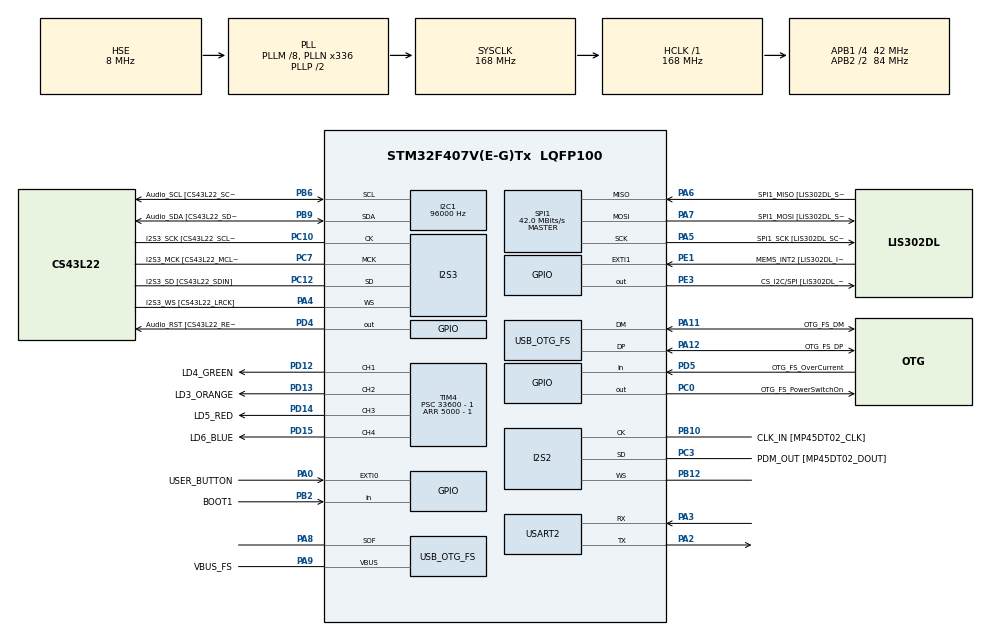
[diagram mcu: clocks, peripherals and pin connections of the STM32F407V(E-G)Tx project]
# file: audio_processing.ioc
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Dma.Request0=SPI2_RX
Dma.Request1=SPI3_TX
Dma.Request2=USART2_RX
Dma.Request3=USART2_TX
Dma.SPI2_RX.0.Direction=DMA_PERIPH_TO_MEMORY
Dma.SPI2_RX.0.FIFOMode=DMA_FIFOMODE_DISABLE
Dma.SPI2_RX.0.Instance=DMA1_Stream3
Dma.SPI2_RX.0.MemDataAlignment=DMA_MDATAALIGN_HALFWORD
Dma.SPI2_RX.0.MemInc=DMA_MINC_ENABLE
Dma.SPI2_RX.0.Mode=DMA_CIRCULAR
Dma.SPI2_RX.0.PeriphDataAlignment=DMA_PDATAALIGN_HALFWORD
Dma.SPI2_RX.0.PeriphInc=DMA_PINC_DISABLE
Dma.SPI2_RX.0.Priority=DMA_PRIORITY_HIGH
Dma.SPI3_TX.1.Direction=DMA_MEMORY_TO_PERIPH
Dma.SPI3_TX.1.FIFOMode=DMA_FIFOMODE_DISABLE
Dma.SPI3_TX.1.Instance=DMA1_Stream7
Dma.SPI3_TX.1.MemDataAlignment=DMA_MDATAALIGN_HALFWORD
Dma.SPI3_TX.1.MemInc=DMA_MINC_ENABLE
Dma.SPI3_TX.1.Mode=DMA_CIRCULAR
Dma.SPI3_TX.1.PeriphDataAlignment=DMA_PDATAALIGN_HALFWORD
Dma.SPI3_TX.1.PeriphInc=DMA_PINC_DISABLE
Dma.SPI3_TX.1.Priority=DMA_PRIORITY_HIGH
Dma.USART2_RX.2.Direction=DMA_PERIPH_TO_MEMORY
Dma.USART2_RX.2.FIFOMode=DMA_FIFOMODE_DISABLE
Dma.USART2_RX.2.Instance=DMA1_Stream5
Dma.USART2_RX.2.MemDataAlignment=DMA_MDATAALIGN_BYTE
Dma.USART2_RX.2.MemInc=DMA_MINC_ENABLE
Dma.USART2_RX.2.Mode=DMA_NORMAL
Dma.USART2_RX.2.PeriphDataAlignment=DMA_PDATAALIGN_BYTE
Dma.USART2_RX.2.PeriphInc=DMA_PINC_DISABLE
Dma.USART2_RX.2.Priority=DMA_PRIORITY_MEDIUM
Dma.USART2_TX.3.Direction=DMA_MEMORY_TO_PERIPH
Dma.USART2_TX.3.FIFOMode=DMA_FIFOMODE_DISABLE
Dma.USART2_TX.3.Instance=DMA1_Stream6
Dma.USART2_TX.3.MemDataAlignment=DMA_MDATAALIGN_BYTE
Dma.USART2_TX.3.MemInc=DMA_MINC_ENABLE
Dma.USART2_TX.3.Mode=DMA_NORMAL
Dma.USART2_TX.3.PeriphDataAlignment=DMA_PDATAALIGN_BYTE
Dma.USART2_TX.3.PeriphInc=DMA_PINC_DISABLE
Dma.USART2_TX.3.Priority=DMA_PRIORITY_LOW
I2C1.ClockSpeed=96000
I2C1.DutyCycle=I2C_DUTYCYCLE_2
I2C1.I2C_Mode=I2C_Fast
I2S2.AudioFreq=I2S_AUDIOFREQ_192K
I2S2.CPOL=I2S_CPOL_HIGH
I2S2.ErrorAudioFreq=2.06 %
I2S2.FullDuplexMode=I2S_FULLDUPLEXMODE_DISABLE
I2S2.Instance=SPI$Index
I2S2.Mode=I2S_MODE_MASTER_RX
I2S2.RealAudioFreq=195.963 KHz
I2S2.Standard=I2S_STANDARD_LSB
I2S2.VirtualMode=I2S_MODE_MASTER
I2S3.AudioFreq=I2S_AUDIOFREQ_96K
I2S3.AudioFreq-Half_Duplex_Master=I2S_AUDIOFREQ_96K
I2S3.ErrorAudioFreq=2.06 %
I2S3.ErrorAudioFreq-Half_Duplex_Master=0.8 %
I2S3.FullDuplexMode=I2S_FULLDUPLEXMODE_DISABLE
I2S3.Instance=SPI$Index
I2S3.Mode=I2S_MODE_MASTER_TX
I2S3.RealAudioFreq=97.981 KHz
I2S3.RealAudioFreq-Half_Duplex_Master=96.774 KHz
I2S3.Standard=I2S_STANDARD_PHILIPS
I2S3.VirtualMode=I2S_MODE_MASTER
Mcu.Family=STM32F4
Mcu.Name=STM32F407V(E-G)Tx
Mcu.Package=LQFP100
NVIC.DMA1_Stream3_IRQn=true\:0\:0\:false\:false\:true\:false\:true\:true
NVIC.DMA1_Stream5_IRQn=true\:0\:0\:false\:false\:true\:false\:true\:true
NVIC.DMA1_Stream6_IRQn=true\:0\:0\:false\:false\:true\:false\:true\:true
NVIC.DMA1_Stream7_IRQn=true\:0\:0\:false\:false\:true\:false\:true\:true
NVIC.FPU_IRQn=true\:0\:0\:false\:false\:true\:true\:false\:true
NVIC.OTG_FS_IRQn=true\:0\:0\:false\:false\:true\:true\:true\:true
NVIC.PriorityGroup=NVIC_PRIORITYGROUP_2
NVIC.SPI2_IRQn=true\:0\:0\:false\:false\:true\:true\:true\:true
NVIC.SPI3_IRQn=true\:0\:0\:false\:false\:true\:true\:true\:true
NVIC.USART2_IRQn=true\:0\:0\:false\:false\:true\:true\:true\:true
PA0-WKUP.GPIO_Label=USER_BUTTON
PA0-WKUP.GPIO_ModeDefaultEXTI=GPIO_MODE_IT_RISING
PA0-WKUP.GPIO_PuPd=GPIO_PULLDOWN
PA0-WKUP.Signal=GPXTI0
PA10.GPIO_Label=OTG_FS_ID
PA10.GPIO_Mode=GPIO_MODE_AF_PP
PA10.GPIO_PuPd=GPIO_NOPULL
PA10.GPIO_Speed=GPIO_SPEED_FREQ_LOW
PA10.Signal=USB_OTG_FS_ID
PA11.GPIO_Label=OTG_FS_DM
PA11.GPIO_Mode=GPIO_MODE_AF_PP
PA11.GPIO_PuPd=GPIO_NOPULL
PA11.GPIO_Speed=GPIO_SPEED_FREQ_LOW
PA11.Mode=Device_Only
PA11.Signal=USB_OTG_FS_DM
PA12.GPIO_Label=OTG_FS_DP
PA12.GPIO_Mode=GPIO_MODE_AF_PP
PA12.GPIO_PuPd=GPIO_NOPULL
PA12.GPIO_Speed=GPIO_SPEED_FREQ_LOW
PA12.Mode=Device_Only
PA12.Signal=USB_OTG_FS_DP
PA13.GPIO_Label=SWDIO
PA13.Mode=Serial_Wire
PA13.Signal=SYS_JTMS-SWDIO
PA14.GPIO_Label=SWCLK
PA14.Mode=Serial_Wire
PA14.Signal=SYS_JTCK-SWCLK
PA2.Mode=Asynchronous
PA2.Signal=USART2_TX
PA3.Mode=Asynchronous
PA3.Signal=USART2_RX
PA4.GPIO_Label=I2S3_WS [CS43L22_LRCK]
PA4.GPIO_Mode=GPIO_MODE_AF_PP
PA4.GPIO_PuPd=GPIO_NOPULL
PA4.GPIO_Speed=GPIO_SPEED_FREQ_LOW
PA4.Mode=Half_Duplex_Master
PA4.Signal=I2S3_WS
PA5.GPIO_Label=SPI1_SCK [LIS302DL_SCL/SPC]
PA5.GPIO_Mode=GPIO_MODE_AF_PP
PA5.GPIO_PuPd=GPIO_NOPULL
PA5.GPIO_Speed=GPIO_SPEED_FREQ_LOW
PA5.Mode=Full_Duplex_Master
PA5.Signal=SPI1_SCK
PA6.GPIO_Label=SPI1_MISO [LIS302DL_SDO]
PA6.GPIO_Mode=GPIO_MODE_AF_PP
PA6.GPIO_PuPd=GPIO_NOPULL
PA6.GPIO_Speed=GPIO_SPEED_FREQ_LOW
PA6.Mode=Full_Duplex_Master
PA6.Signal=SPI1_MISO
PA7.GPIO_Label=SPI1_MOSI [LIS302DL_SDA/SDI/SDO]
PA7.GPIO_Mode=GPIO_MODE_AF_PP
PA7.GPIO_PuPd=GPIO_NOPULL
PA7.GPIO_Speed=GPIO_SPEED_FREQ_LOW
PA7.Mode=Full_Duplex_Master
PA7.Signal=SPI1_MOSI
PA8.Mode=Activate_SOF_FS
PA8.Signal=USB_OTG_FS_SOF
PA9.GPIO_Label=VBUS_FS
PA9.GPIO_Mode=GPIO_MODE_INPUT
PA9.GPIO_PuPd=GPIO_NOPULL
PA9.Mode=Activate_VBUS
PA9.Signal=USB_OTG_FS_VBUS
PB10.GPIO_Label=CLK_IN [MP45DT02_CLK]
PB10.GPIO_Mode=GPIO_MODE_AF_PP
PB10.GPIO_PuPd=GPIO_NOPULL
PB10.GPIO_Speed=GPIO_SPEED_FREQ_LOW
PB10.Mode=Half_Duplex_Master
PB10.Signal=I2S2_CK
PB12.Mode=Half_Duplex_Master
PB12.Signal=I2S2_WS
PB2.GPIO_Label=BOOT1
PB2.GPIO_Mode=GPIO_MODE_INPUT
PB2.GPIO_PuPd=GPIO_NOPULL
PB2.Signal=GPIO_Input
PB3.GPIO_Label=SWO
PB3.Signal=SYS_JTDO-SWO
PB6.GPIO_Label=Audio_SCL [CS43L22_SCL]
PB6.GPIO_Mode=GPIO_MODE_AF_OD
PB6.GPIO_Pu=GPIO_PULLUP
PB6.GPIO_PuPd=GPIO_NOPULL
PB6.GPIO_Speed=GPIO_SPEED_FREQ_LOW
PB6.Mode=I2C
PB6.Signal=I2C1_SCL
PB9.GPIO_Label=Audio_SDA [CS43L22_SDA]
PB9.GPIO_Mode=GPIO_MODE_AF_OD
PB9.GPIO_Pu=GPIO_PULLUP
PB9.GPIO_PuPd=GPIO_NOPULL
PB9.GPIO_Speed=GPIO_SPEED_FREQ_LOW
PB9.Mode=I2C
PB9.Signal=I2C1_SDA
PC0.GPIO_Label=OTG_FS_PowerSwitchOn
PC0.GPIO_PuPd=GPIO_NOPULL
PC0.GPIO_Speed=GPIO_SPEED_FREQ_LOW
PC0.PinState=GPIO_PIN_SET
PC0.Signal=GPIO_Output
PC10.GPIO_Label=I2S3_SCK [CS43L22_SCLK]
PC10.GPIO_Mode=GPIO_MODE_AF_PP
PC10.GPIO_PuPd=GPIO_NOPULL
PC10.GPIO_Speed=GPIO_SPEED_FREQ_LOW
PC10.Mode=Half_Duplex_Master
PC10.Signal=I2S3_CK
PC12.GPIO_Label=I2S3_SD [CS43L22_SDIN]
PC12.GPIO_Mode=GPIO_MODE_AF_PP
PC12.GPIO_PuPd=GPIO_NOPULL
PC12.GPIO_Speed=GPIO_SPEED_FREQ_LOW
PC12.Mode=Half_Duplex_Master
PC12.Signal=I2S3_SD
PC14-OSC32_IN.GPIO_Label=PC14-OSC32_IN
PC14-OSC32_IN.Mode=LSE-External-Oscillator
PC14-OSC32_IN.Signal=RCC_OSC32_IN
PC15-OSC32_OUT.GPIO_Label=PC15-OSC32_OUT
PC15-OSC32_OUT.Mode=LSE-External-Oscillator
PC15-OSC32_OUT.Signal=RCC_OSC32_OUT
PC3.GPIO_Label=PDM_OUT [MP45DT02_DOUT]
PC3.GPIO_Mode=GPIO_MODE_AF_PP
PC3.GPIO_PuPd=GPIO_NOPULL
PC3.GPIO_Speed=GPIO_SPEED_FREQ_LOW
PC3.Mode=Half_Duplex_Master
PC3.Signal=I2S2_SD
PC7.GPIO_Label=I2S3_MCK [CS43L22_MCLK]
PC7.GPIO_Mode=GPIO_MODE_AF_PP
PC7.GPIO_PuPd=GPIO_NOPULL
PC7.GPIO_Speed=GPIO_SPEED_FREQ_LOW
PC7.Mode=Master_Clock_Activated
PC7.Signal=I2S3_MCK
PD12.GPIO_Label=LD4_GREEN
PD12.Signal=S_TIM4_CH1
PD13.GPIO_Label=LD3_ORANGE
PD13.Signal=S_TIM4_CH2
PD14.GPIO_Label=LD5_RED
PD14.Signal=S_TIM4_CH3
PD15.GPIO_Label=LD6_BLUE
PD15.Signal=S_TIM4_CH4
PD4.GPIO_Label=Audio_RST [CS43L22_RESET]
PD4.GPIO_PuPd=GPIO_NOPULL
PD4.GPIO_Speed=GPIO_SPEED_FREQ_LOW
PD4.Signal=GPIO_Output
PD5.GPIO_Label=OTG_FS_OverCurrent
PD5.GPIO_Mode=GPIO_MODE_INPUT
PD5.GPIO_PuPd=GPIO_NOPULL
PD5.Signal=GPIO_Input
PDM2PCM.CHANNEL1_bit_order=PDM_FILTER_BIT_ORDER_LSB
PDM2PCM.CHANNEL1_decimation_factor=PDM_FILTER_DEC_FACTOR_16
PDM2PCM.CHANNEL1_endianness=PDM_FILTER_ENDIANNESS_LE
PDM2PCM.CHANNEL1_high_pass_tap=2147483646
PDM2PCM.CHANNEL1_in_ptr_channels=1
PDM2PCM.CHANNEL1_out_ptr_channels=1
PDM2PCM.CHANNEL1_output_samples_number=48
PE1.GPIO_Label=MEMS_INT2 [LIS302DL_INT2]
PE1.GPIO_ModeDefaultEXTI=GPIO_MODE_EVT_RISING
PE1.GPIO_PuPd=GPIO_NOPULL
PE1.Signal=GPXTI1
PE3.GPIO_Label=CS_I2C/SPI [LIS302DL_CS_I2C/SPI]
PE3.GPIO_PuPd=GPIO_NOPULL
PE3.GPIO_Speed=GPIO_SPEED_FREQ_LOW
PE3.Signal=GPIO_Output
PH0-OSC_IN.GPIO_Label=PH0-OSC_IN
PH0-OSC_IN.Mode=HSE-External-Oscillator
PH0-OSC_IN.Signal=RCC_OSC_IN
PH1-OSC_OUT.GPIO_Label=PH1-OSC_OUT
PH1-OSC_OUT.Mode=HSE-External-Oscillator
PH1-OSC_OUT.Signal=RCC_OSC_OUT
ProjectManager.HeapSize=0x2000
ProjectManager.StackSize=0x1800
ProjectManager.TargetToolchain=STM32CubeIDE
RCC.48MHZClocksFreq_Value=48000000
RCC.AHBFreq_Value=168000000
RCC.APB1CLKDivider=RCC_HCLK_DIV4
RCC.APB1Freq_Value=42000000
RCC.APB1TimFreq_Value=84000000
RCC.APB2CLKDivider=RCC_HCLK_DIV2
RCC.APB2Freq_Value=84000000
RCC.APB2TimFreq_Value=168000000
RCC.CortexFreq_Value=168000000
RCC.HCLKFreq_Value=168000000
RCC.HSE_VALUE=8000000
RCC.HSI_VALUE=16000000
RCC.PLLI2SN=301
RCC.PLLM=8
RCC.PLLN=336
RCC.PLLQ=7
RCC.SYSCLKFreq_VALUE=168000000
RCC.SYSCLKSource=RCC_SYSCLKSOURCE_PLLCLK
RCC.VCOOutputFreq_Value=336000000
SH.S_TIM4_CH1.0=TIM4_CH1,PWM Generation1 CH1
SH.S_TIM4_CH2.0=TIM4_CH2,PWM Generation2 CH2
SH.S_TIM4_CH3.0=TIM4_CH3,PWM Generation3 CH3
SH.S_TIM4_CH4.0=TIM4_CH4,PWM Generation4 CH4
SPI1.CalculateBaudRate=42.0 MBits/s
SPI1.Direction=SPI_DIRECTION_2LINES
SPI1.Mode=SPI_MODE_MASTER
SPI1.VirtualType=VM_MASTER
TIM4.AutoReloadPreload=TIM_AUTORELOAD_PRELOAD_ENABLE
TIM4.Channel-PWM\ Generation1\ CH1=TIM_CHANNEL_1
TIM4.Channel-PWM\ Generation2\ CH2=TIM_CHANNEL_2
TIM4.Channel-PWM\ Generation3\ CH3=TIM_CHANNEL_3
TIM4.Channel-PWM\ Generation4\ CH4=TIM_CHANNEL_4
TIM4.ClockDivision=TIM_CLOCKDIVISION_DIV1
TIM4.OCMode_PWM-PWM\ Generation1\ CH1=TIM_OCMODE_PWM1
TIM4.OCMode_PWM-PWM\ Generation4\ CH4=TIM_OCMODE_PWM1
TIM4.OCPolarity_1=TIM_OCPOLARITY_LOW
TIM4.OCPolarity_2=TIM_OCPOLARITY_LOW
TIM4.OCPolarity_3=TIM_OCPOLARITY_LOW
TIM4.OCPolarity_4=TIM_OCPOLARITY_LOW
TIM4.Period=5000 - 1
TIM4.Prescaler=33600 - 1
TIM4.Pulse-PWM\ Generation1\ CH1=5000/2
TIM4.Pulse-PWM\ Generation2\ CH2=5000/2
TIM4.Pulse-PWM\ Generation3\ CH3=5000/2
TIM4.Pulse-PWM\ Generation4\ CH4=5000/2
USART2.VirtualMode=VM_ASYNC
USART2.WordLength=WORDLENGTH_8B
USB_OTG_FS.VirtualMode=Device_Only
USB_OTG_FS.low_power_enable=DISABLE
VP_CRC_VS_CRC.Mode=CRC_Activate
VP_PDM2PCM_VS_PDM2PCM.Mode=PDM2PCM_Channel
VP_TIM4_VS_ClockSourceINT.Mode=Internal
board=STM32F407G-DISC1

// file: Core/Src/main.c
/* USER CODE BEGIN Header */
/**
  ******************************************************************************
  * @file           : main.c
  * @brief          : Main program body
  ******************************************************************************
  * @attention
  *
  * Copyright (c) 2023 STMicroelectronics.
  * All rights reserved.
  *
  * This software is licensed under terms that can be found in the LICENSE file
  * in the root directory of this software component.
  * If no LICENSE file comes with this software, it is provided AS-IS.
  *
  ******************************************************************************
  */
/* USER CODE END Header */
#include "main.h"
#include "crc.h"
#include "dma.h"
#include "i2c.h"
#include "i2s.h"
#include "pdm2pcm.h"
#include "spi.h"
#include "tim.h"
#include "usart.h"
#include "usb_otg.h"
#include "gpio.h"

void SystemClock_Config(void);
void PeriphCommonClock_Config(void);
/* USER CODE BEGIN PFP */
#include "tusb_config.h"
#include "device/usbd.h"
#include "class/audio/audio.h"
#include "../../tinyusb/bsp/board_api.h"
#include "cs43l22.h"
#include <math.h>

/* USER CODE END PFP */

/* USER CODE BEGIN 0 */
void audio_task(void (*feed)(void));

bool mute[CFG_TUD_AUDIO_FUNC_1_N_CHANNELS_TX + 1]; 				          // +1 for master channel 0
uint16_t volume[CFG_TUD_AUDIO_FUNC_1_N_CHANNELS_TX + 1]; 					// +1 for master channel 0
uint32_t sampFreq;
uint8_t bytesPerSample;
uint8_t clkValid;

// Range states
// List of supported sample rates
static const uint32_t sampleRatesList[] = {32000, 48000, 96000};

#define N_sampleRates  TU_ARRAY_SIZE(sampleRatesList)

// Bytes per format of every Alt settings
static const uint8_t bytesPerSampleAltList[CFG_TUD_AUDIO_FUNC_1_N_FORMATS] =
        {
                CFG_TUD_AUDIO_FUNC_1_FORMAT_1_N_BYTES_PER_SAMPLE_TX,
                CFG_TUD_AUDIO_FUNC_1_FORMAT_2_N_BYTES_PER_SAMPLE_TX,
        };

//audio_control_range_2_n_t(1) volumeRng[CFG_TUD_AUDIO_FUNC_1_N_CHANNELS_TX+1]; // Volume range state

// audio buffer
CFG_TUSB_MEM_ALIGN uint8_t test_buffer_audio[CFG_TUD_AUDIO_FUNC_1_EP_IN_SZ_MAX];

#define SAMPLE_RATE 48000  // 96000
#define SAMPLE_PERIOD (1.0f / SAMPLE_RATE)
#define DC_POINT 0
#define TX_SIZE (SAMPLE_RATE / 1000)

#define CODEC_ADDR 0x94U
uint8_t initVolume = 70;
// each packet could contain 32, 48, or 96 samples according to the sample size defined in recording

typedef enum {
    DATA_REQUEST = 0x00U,
    FIRST_HALF_READY = 0x01U,
    SECOND_HALF_READY = 0x02U,
    BUFFER_FULL = 0x03U,
    BUFFER_ERROR = 0x04U,
} buffer_state;

static float t = 0;
uint16_t rxBuff[TX_SIZE * 2] = {0};
int16_t pcmBuff[TX_SIZE] = {0};
//int16_t signalBuff[TX_SIZE] = {0};
buffer_state rx_state = FIRST_HALF_READY;
buffer_state pcm_state = DATA_REQUEST;

void (*feed)(void) = &feed_nothing;
void setup_codec();
void enable_mic_dma();

/* USER CODE END 0 */

int main(void)
{

  /* MCU Configuration--------------------------------------------------------*/

  /* Reset of all peripherals, Initializes the Flash interface and the Systick. */
  HAL_Init();

  /* Configure the system clock */
  SystemClock_Config();

/* Configure the peripherals common clocks */
  PeriphCommonClock_Config();

  /* Initialize all configured peripherals */
  MX_GPIO_Init();
  MX_DMA_Init();
  MX_I2C1_Init();
  MX_I2S3_Init();
  MX_I2S2_Init();
  MX_CRC_Init();
  MX_USB_OTG_FS_PCD_Init();
  MX_PDM2PCM_Init();
  MX_SPI1_Init();
  MX_TIM4_Init();
  MX_USART2_UART_Init();
  /* USER CODE BEGIN 2 */

    tud_init(BOARD_TUD_RHPORT);

    if (board_init_after_tusb) {
        board_init_after_tusb();
    }

    sampFreq = sampleRatesList[0];
    clkValid = 1;

    /* enable DMA from Mic to rxBuff */
    enable_mic_dma();

    /* activate CODEC and enable DMA from pcmBuff */
    setup_codec();

  /* USER CODE END 2 */

  /* Infinite loop */
  /* USER CODE BEGIN WHILE */
  print_welcome_message();
  print_menu_message();
  while (1)
  {
    /* USER CODE END WHILE */

    /* USER CODE BEGIN 3 */
      user_input_control();
      audio_task(feed);
      tud_task();
  }
  /* USER CODE END 3 */
}

void SystemClock_Config(void)
{
  RCC_OscInitTypeDef RCC_OscInitStruct = {0};
  RCC_ClkInitTypeDef RCC_ClkInitStruct = {0};

  /** Configure the main internal regulator output voltage
  */
  __HAL_RCC_PWR_CLK_ENABLE();
  __HAL_PWR_VOLTAGESCALING_CONFIG(PWR_REGULATOR_VOLTAGE_SCALE1);

  /** Initializes the RCC Oscillators according to the specified parameters
  * in the RCC_OscInitTypeDef structure.
  */
  RCC_OscInitStruct.OscillatorType = RCC_OSCILLATORTYPE_HSE;
  RCC_OscInitStruct.HSEState = RCC_HSE_ON;
  RCC_OscInitStruct.PLL.PLLState = RCC_PLL_ON;
  RCC_OscInitStruct.PLL.PLLSource = RCC_PLLSOURCE_HSE;
  RCC_OscInitStruct.PLL.PLLM = 8;
  RCC_OscInitStruct.PLL.PLLN = 336;
  RCC_OscInitStruct.PLL.PLLP = RCC_PLLP_DIV2;
  RCC_OscInitStruct.PLL.PLLQ = 7;
  if (HAL_RCC_OscConfig(&RCC_OscInitStruct) != HAL_OK)
  {
    Error_Handler();
  }

  /** Initializes the CPU, AHB and APB buses clocks
  */
  RCC_ClkInitStruct.ClockType = RCC_CLOCKTYPE_HCLK|RCC_CLOCKTYPE_SYSCLK
                              |RCC_CLOCKTYPE_PCLK1|RCC_CLOCKTYPE_PCLK2;
  RCC_ClkInitStruct.SYSCLKSource = RCC_SYSCLKSOURCE_PLLCLK;
  RCC_ClkInitStruct.AHBCLKDivider = RCC_SYSCLK_DIV1;
  RCC_ClkInitStruct.APB1CLKDivider = RCC_HCLK_DIV4;
  RCC_ClkInitStruct.APB2CLKDivider = RCC_HCLK_DIV2;

  if (HAL_RCC_ClockConfig(&RCC_ClkInitStruct, FLASH_LATENCY_5) != HAL_OK)
  {
    Error_Handler();
  }
}

void PeriphCommonClock_Config(void)
{
  RCC_PeriphCLKInitTypeDef PeriphClkInitStruct = {0};

  /** Initializes the peripherals clock
  */
  PeriphClkInitStruct.PeriphClockSelection = RCC_PERIPHCLK_I2S;
  PeriphClkInitStruct.PLLI2S.PLLI2SN = 301;
  PeriphClkInitStruct.PLLI2S.PLLI2SR = 2;
  if (HAL_RCCEx_PeriphCLKConfig(&PeriphClkInitStruct) != HAL_OK)
  {
    Error_Handler();
  }
}

/* USER CODE BEGIN 4 */

void enable_mic_dma() { HAL_I2S_Receive_DMA(&hi2s2, &rxBuff[0], TX_SIZE * 2); }

void setup_codec(void) {
    cs43l22_Init(CODEC_ADDR, OUTPUT_DEVICE_HEADPHONE, initVolume, SAMPLE_RATE);
    cs43l22_Play(CODEC_ADDR, NULL, 0);
    HAL_I2S_Transmit_DMA(&hi2s3, (uint16_t *) ((void *) &pcmBuff[0]), TX_SIZE);
    HAL_I2S_DMAPause(&hi2s3);
}

void start_codec(void) {
    HAL_I2S_DMAResume(&hi2s3);
}

void audio_task(void (*feed)(void)) {
    (*feed)();
}

void feed_mic_data(void) {
    uint16_t *txBuffPtr = (rx_state == FIRST_HALF_READY) ? (&rxBuff[0]) : (&rxBuff[TX_SIZE]);
    PDM_Filter((uint8_t*) txBuffPtr, &pcmBuff[0], &PDM1_filter_handler);
    pcm_state = BUFFER_FULL;
}

void feed_signal_data(void) {
    /* direct approach for generating a test signal */
    if (pcm_state == DATA_REQUEST) {
        for (int i = 0; i < TX_SIZE; ++i) {
            float f_sample = 5 * cosf(2 * M_PI * 100 * t);
            int16_t sample = (int16_t) (f_sample * 1000 + DC_POINT);
            t += SAMPLE_PERIOD;

            pcmBuff[i] = sample;
        }
        pcm_state = BUFFER_FULL;
    }

}

void feed_nothing(void) {
    ;
}

bool tud_audio_tx_done_post_load_cb(uint8_t rhport, uint16_t n_bytes_copied, uint8_t itf, uint8_t ep_in, uint8_t cur_alt_setting)
{
    (void) rhport;
    (void) n_bytes_copied;
    (void) itf;
    (void) ep_in;
    (void) cur_alt_setting;

    int16_t* usbBuff = (int16_t*)((void*)test_buffer_audio);

    /* transmit mic data */
    if (pcm_state == BUFFER_FULL) {
        for (size_t i = 0; i < TX_SIZE; i++) {
            *usbBuff++ = pcmBuff[i];
        }
        clear_buffer(pcmBuff, TX_SIZE);
        pcm_state = DATA_REQUEST;
    }

    /* tinyUSB reference */
//    if(bytesPerSample == 2)
//    {
//        uint16_t* pData_16 = (uint16_t*)((void*)test_buffer_audio);
//        for (size_t cnt = 0; cnt < sampFreq / 1000; cnt++)
//        {
//            pData_16[cnt] = dummy_data--;
//        }
//    }
//        // 24bit in 32bit slot
//    else if(bytesPerSample == 4)
//    {
//        uint32_t* pData_32 = (uint32_t*)((void*)test_buffer_audio);
//        for (size_t cnt = 0; cnt < sampFreq / 1000; cnt++)
//        {
//            pData_32[cnt] = (uint32_t)startVal++ << 16U;
//        }
//    }
    return true;
}

void HAL_I2S_RxHalfCpltCallback(I2S_HandleTypeDef *hi2s) {
    if (hi2s->Instance == SPI2) {
        rx_state = FIRST_HALF_READY;
    }
}

void HAL_I2S_RxCpltCallback(I2S_HandleTypeDef *hi2s) {
    if (hi2s->Instance == SPI2) {
        rx_state = SECOND_HALF_READY;
    }
}

//--------------------------------------------------------------------+
// Device callbacks
//--------------------------------------------------------------------+

// Invoked when device is mounted
void tud_mount_cb(void)
{
    ;
}

// Invoked when device is unmounted
void tud_umount_cb(void)
{
    ;
}

// Invoked when usb bus is suspended
// remote_wakeup_en : if host allow us  to perform remote wakeup
// Within 7ms, device must draw an average of current less than 2.5 mA from bus
void tud_suspend_cb(bool remote_wakeup_en)
{
    (void) remote_wakeup_en;
    ;
}

// Invoked when usb bus is resumed
void tud_resume_cb(void)
{
    ;
}

//--------------------------------------------------------------------+
// Application Callback API Implementations
//--------------------------------------------------------------------+

// Invoked when set interface is called, typically on start/stop streaming or format change
bool tud_audio_set_itf_cb(uint8_t rhport, tusb_control_request_t const * p_request)
{
    (void)rhport;
    //uint8_t const itf = tu_u16_low(tu_le16toh(p_request->wIndex));
    uint8_t const alt = tu_u16_low(tu_le16toh(p_request->wValue));

    // Clear buffer when streaming format is changed
    if(alt != 0)
    {
        bytesPerSample = bytesPerSampleAltList[alt-1];
    }
    return true;
}

// Invoked when audio class specific set request received for an EP
bool tud_audio_set_req_ep_cb(uint8_t rhport, tusb_control_request_t const * p_request, uint8_t *pBuff)
{
    (void) rhport;
    (void) pBuff;

    // We do not support any set range requests here, only current value requests
    TU_VERIFY(p_request->bRequest == AUDIO_CS_REQ_CUR);

    // Page 91 in UAC2 specification
    uint8_t channelNum = TU_U16_LOW(p_request->wValue);
    uint8_t ctrlSel = TU_U16_HIGH(p_request->wValue);
    uint8_t ep = TU_U16_LOW(p_request->wIndex);

    (void) channelNum; (void) ctrlSel; (void) ep;

    return false; 	// Yet not implemented
}

// Invoked when audio class specific set request received for an interface
bool tud_audio_set_req_itf_cb(uint8_t rhport, tusb_control_request_t const * p_request, uint8_t *pBuff)
{
    (void) rhport;
    (void) pBuff;

    // We do not support any set range requests here, only current value requests
    TU_VERIFY(p_request->bRequest == AUDIO_CS_REQ_CUR);

    // Page 91 in UAC2 specification
    uint8_t channelNum = TU_U16_LOW(p_request->wValue);
    uint8_t ctrlSel = TU_U16_HIGH(p_request->wValue);
    uint8_t itf = TU_U16_LOW(p_request->wIndex);

    (void) channelNum; (void) ctrlSel; (void) itf;

    return false; 	// Yet not implemented
}

// Invoked when audio class specific set request received for an entity
bool tud_audio_set_req_entity_cb(uint8_t rhport, tusb_control_request_t const * p_request, uint8_t *pBuff)
{
    (void) rhport;

    // Page 91 in UAC2 specification
    uint8_t channelNum = TU_U16_LOW(p_request->wValue);
    uint8_t ctrlSel = TU_U16_HIGH(p_request->wValue);
    uint8_t itf = TU_U16_LOW(p_request->wIndex);
    uint8_t entityID = TU_U16_HIGH(p_request->wIndex);

    (void) itf;

    // We do not support any set range requests here, only current value requests
    TU_VERIFY(p_request->bRequest == AUDIO_CS_REQ_CUR);

    // If request is for our feature unit
    if ( entityID == UAC2_ENTITY_FEATURE_UNIT )
    {
        switch ( ctrlSel )
        {
            case AUDIO_FU_CTRL_MUTE:
                // Request uses format layout 1
                TU_VERIFY(p_request->wLength == sizeof(audio_control_cur_1_t));

                mute[channelNum] = ((audio_control_cur_1_t*) pBuff)->bCur;

                TU_LOG2("    Set Mute: %d of channel: %u\r\n", mute[channelNum], channelNum);
                return true;

            case AUDIO_FU_CTRL_VOLUME:
                // Request uses format layout 2
                TU_VERIFY(p_request->wLength == sizeof(audio_control_cur_2_t));

                volume[channelNum] = (uint16_t) ((audio_control_cur_2_t*) pBuff)->bCur;

                TU_LOG2("    Set Volume: %d dB of channel: %u\r\n", volume[channelNum], channelNum);
                return true;

                // Unknown/Unsupported control
            default:
                TU_BREAKPOINT();
                return false;
        }
    }

    // Clock Source unit
    if ( entityID == UAC2_ENTITY_CLOCK )
    {
        switch ( ctrlSel )
        {
            case AUDIO_CS_CTRL_SAM_FREQ:
                TU_VERIFY(p_request->wLength == sizeof(audio_control_cur_4_t));

                sampFreq = (uint32_t)((audio_control_cur_4_t *)pBuff)->bCur;

                TU_LOG2("Clock set current freq: %lu\r\n", sampFreq);

                return true;
                break;

                // Unknown/Unsupported control
            default:
                TU_BREAKPOINT();
                return false;
        }
    }

    return false;    // Yet not implemented
}

// Invoked when audio class specific get request received for an EP
bool tud_audio_get_req_ep_cb(uint8_t rhport, tusb_control_request_t const * p_request)
{
    (void) rhport;

    // Page 91 in UAC2 specification
    uint8_t channelNum = TU_U16_LOW(p_request->wValue);
    uint8_t ctrlSel = TU_U16_HIGH(p_request->wValue);
    uint8_t ep = TU_U16_LOW(p_request->wIndex);

    (void) channelNum; (void) ctrlSel; (void) ep;

    //	return tud_control_xfer(rhport, p_request, &tmp, 1);

    return false; 	// Yet not implemented
}

// Invoked when audio class specific get request received for an interface
bool tud_audio_get_req_itf_cb(uint8_t rhport, tusb_control_request_t const * p_request)
{
    (void) rhport;

    // Page 91 in UAC2 specification
    uint8_t channelNum = TU_U16_LOW(p_request->wValue);
    uint8_t ctrlSel = TU_U16_HIGH(p_request->wValue);
    uint8_t itf = TU_U16_LOW(p_request->wIndex);

    (void) channelNum; (void) ctrlSel; (void) itf;

    return false; 	// Yet not implemented
}

// Invoked when audio class specific get request received for an entity
bool tud_audio_get_req_entity_cb(uint8_t rhport, tusb_control_request_t const * p_request)
{
    (void) rhport;

    // Page 91 in UAC2 specification
    uint8_t channelNum = TU_U16_LOW(p_request->wValue);
    uint8_t ctrlSel = TU_U16_HIGH(p_request->wValue);
    // uint8_t itf = TU_U16_LOW(p_request->wIndex); 			// Since we have only one audio function implemented, we do not need the itf value
    uint8_t entityID = TU_U16_HIGH(p_request->wIndex);

    // Input terminal (Microphone input)
    if (entityID == UAC2_ENTITY_INPUT_TERMINAL)
    {
        switch ( ctrlSel )
        {
            case AUDIO_TE_CTRL_CONNECTOR:
            {
                // The terminal connector control only has a get request with only the CUR attribute.
                audio_desc_channel_cluster_t ret;

                // Those are dummy values for now
                ret.bNrChannels = 1;
                ret.bmChannelConfig = 0;
                ret.iChannelNames = 0;

                TU_LOG2("    Get terminal connector\r\n");

                return tud_audio_buffer_and_schedule_control_xfer(rhport, p_request, (void*) &ret, sizeof(ret));
            }
                break;

                // Unknown/Unsupported control selector
            default:
                TU_BREAKPOINT();
                return false;
        }
    }

    // Feature unit
    if (entityID == UAC2_ENTITY_FEATURE_UNIT)
    {
        switch ( ctrlSel )
        {
            case AUDIO_FU_CTRL_MUTE:
                // Audio control mute cur parameter block consists of only one byte - we thus can send it right away
                // There does not exist a range parameter block for mute
                TU_LOG2("    Get Mute of channel: %u\r\n", channelNum);
                return tud_control_xfer(rhport, p_request, &mute[channelNum], 1);

            case AUDIO_FU_CTRL_VOLUME:
                switch ( p_request->bRequest )
                {
                    case AUDIO_CS_REQ_CUR:
                        TU_LOG2("    Get Volume of channel: %u\r\n", channelNum);
                        return tud_control_xfer(rhport, p_request, &volume[channelNum], sizeof(volume[channelNum]));

                    case AUDIO_CS_REQ_RANGE:
                        TU_LOG2("    Get Volume range of channel: %u\r\n", channelNum);

                        // Copy values - only for testing - better is version below
                        audio_control_range_2_n_t(1)
                                ret;

                        ret.wNumSubRanges = 1;
                        ret.subrange[0].bMin = -90;    // -90 dB
                        ret.subrange[0].bMax = 30;		// +30 dB
                        ret.subrange[0].bRes = 1; 		// 1 dB steps

                        return tud_audio_buffer_and_schedule_control_xfer(rhport, p_request, (void*) &ret, sizeof(ret));

                        // Unknown/Unsupported control
                    default:
                        TU_BREAKPOINT();
                        return false;
                }
                break;

                // Unknown/Unsupported control
            default:
                TU_BREAKPOINT();
                return false;
        }
    }

    // Clock Source unit
    if ( entityID == UAC2_ENTITY_CLOCK )
    {
        switch ( ctrlSel )
        {
            case AUDIO_CS_CTRL_SAM_FREQ:
                // channelNum is always zero in this case
                switch ( p_request->bRequest )
                {
                    case AUDIO_CS_REQ_CUR:
                        TU_LOG2("    Get Sample Freq.\r\n");
                        return tud_control_xfer(rhport, p_request, &sampFreq, sizeof(sampFreq));

                    case AUDIO_CS_REQ_RANGE:
                    {
                        TU_LOG2("    Get Sample Freq. range\r\n");
                        audio_control_range_4_n_t(N_sampleRates) rangef =
                                {
                                        .wNumSubRanges = tu_htole16(N_sampleRates)
                                };
                        TU_LOG1("Clock get %d freq ranges\r\n", N_sampleRates);
                        for(uint8_t i = 0; i < N_sampleRates; i++)
                        {
                            rangef.subrange[i].bMin = (int32_t)sampleRatesList[i];
                            rangef.subrange[i].bMax = (int32_t)sampleRatesList[i];
                            rangef.subrange[i].bRes = 0;
                            TU_LOG1("Range %d (%d, %d, %d)\r\n", i, (int)rangef.subrange[i].bMin, (int)rangef.subrange[i].bMax, (int)rangef.subrange[i].bRes);
                        }
                        return tud_audio_buffer_and_schedule_control_xfer(rhport, p_request, &rangef, sizeof(rangef));
                    }
                        // Unknown/Unsupported control
                    default:
                        TU_BREAKPOINT();
                        return false;
                }
                break;

            case AUDIO_CS_CTRL_CLK_VALID:
                // Only cur attribute exists for this request
                TU_LOG2("    Get Sample Freq. valid\r\n");
                return tud_control_xfer(rhport, p_request, &clkValid, sizeof(clkValid));

                // Unknown/Unsupported control
            default:
                TU_BREAKPOINT();
                return false;
        }
    }

    TU_LOG2("  Unsupported entity: %d\r\n", entityID);
    return false; 	// Yet not implemented
}

bool tud_audio_tx_done_pre_load_cb(uint8_t rhport, uint8_t itf, uint8_t ep_in, uint8_t cur_alt_setting)
{
    (void) rhport;
    (void) itf;
    (void) ep_in;
    (void) cur_alt_setting;

    tud_audio_write((uint8_t *)test_buffer_audio, (uint16_t)(sampFreq / (TUD_OPT_HIGH_SPEED ? 8000 : 1000) * bytesPerSample));

    return true;
}

bool tud_audio_set_itf_close_EP_cb(uint8_t rhport, tusb_control_request_t const * p_request)
{
    (void) rhport;
    (void) p_request;

    return true;
}

/* USER CODE END 4 */

void Error_Handler(void)
{
  __disable_irq();
  while (1)
  {
  }
}
